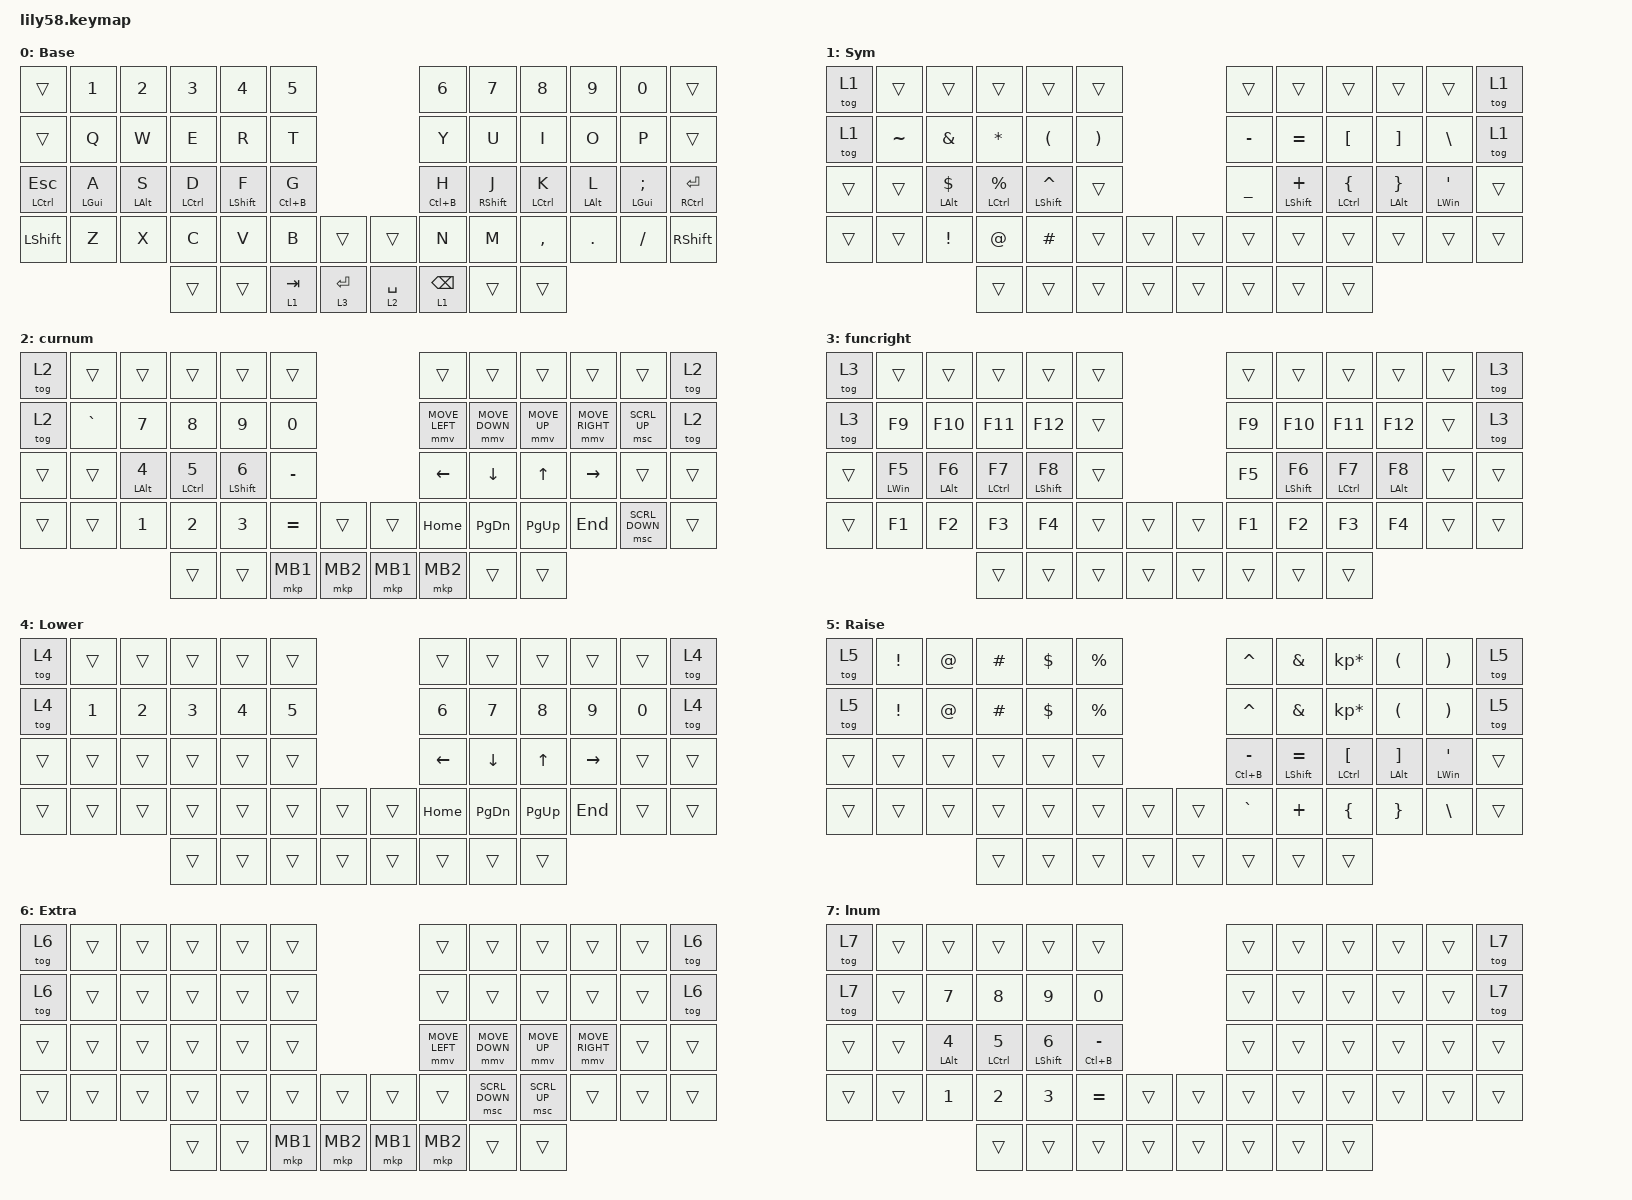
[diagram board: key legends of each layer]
/*
 * Copyright (c) 2020 The ZMK Contributors
 *
 * SPDX-License-Identifier: MIT
 *
 * Layout mirrors the corne keymap (corne-wireless-view) onto the lily58:
 *
 *   corne row 1 -> lily row 2    corne row 2 -> lily row 3    corne row 3 -> lily row 4
 *   lily top row (pos 0-11): numbers on Base, shifted symbols on Raise,
 *   &tog <layer> at both ends on the other layers (locks the current layer)
 *   lily row-4 thumb keys (pos 42/43) are &trans on every layer
 *
 *   corne left  thumbs (outer->inner)  -> lily 51 52 53
 *   corne right thumbs (inner->outer)  -> lily 54 55 56
 *   lily 50 / 57 stay &trans
 */

#include <behaviors.dtsi>
#include <dt-bindings/zmk/bt.h>
#include <dt-bindings/zmk/keys.h>
#include <dt-bindings/zmk/outputs.h>
#include <dt-bindings/zmk/pointing.h>

&lt {
    require-prior-idle-ms = <150>;
    tapping-term-ms = <280>;
    quick-tap-ms = <250>;
    flavor = "balanced";
};

&mt {
    require-prior-idle-ms = <150>;
    tapping-term-ms = <280>;
    quick-tap-ms = <250>;
    flavor = "balanced";
};

// Mouse move: faster ramp (150ms), less aggressive acceleration

&mmv {
    time-to-max-speed-ms = <250>;
    acceleration-exponent = <2>;
};

// Mouse scroll: faster ramp, linear

&msc {
    time-to-max-speed-ms = <250>;
    acceleration-exponent = <2>;
};

/ {
    behaviors {
        graveesc: graveesc {
            compatible = "zmk,behavior-mod-morph";
            #binding-cells = <0>;
            bindings = <&kp ESC>, <&kp GRAVE>;

            mods = <(MOD_LSFT|MOD_RSFT|MOD_LCTL|MOD_RCTL)>;
            keep-mods = <(MOD_LSFT|MOD_RSFT)>;
        };

        bspdel: bspace_del {
            compatible = "zmk,behavior-mod-morph";
            #binding-cells = <0>;
            bindings = <&kp BSPC>, <&kp DEL>;

            mods = <(MOD_LSFT|MOD_RSFT|MOD_LCTL|MOD_RCTL)>;
        };

        // Custom behavior (see src/behavior_esc_to_base.c): sends ESC and
        // forces the default layer, cancelling any layer locked via the
        // stick keys.

        esc_to_base: esc_to_base {
            compatible = "zmk,behavior-esc-to-base";
            #binding-cells = <0>;
        };

        lt_bspdel: layer_tap_bspc_del {
            compatible = "zmk,behavior-hold-tap";
            label = "LAYER_TAP_BACKSPACE_DELETE";
            #binding-cells = <2>;
            bindings = <&mo>, <&bspdel>;

            tapping-term-ms = <280>;
            quick-tap-ms = <250>;
        };

        td_lctrl_quote: td_lctrl_quote {
            compatible = "zmk,behavior-tap-dance";
            label = "DT_GUI_ENTER";
            #binding-cells = <0>;
            bindings = <&mt LCTRL SQT>, <&kp DQT>;
        };

        td_alt_brckt_bslsh: td_alt_brckt_bslsh {
            compatible = "zmk,behavior-tap-dance";
            label = "TD_ALT_BRCKT_BSLSH";
            #binding-cells = <0>;
            bindings = <&mt LALT LBKT>, <&kp RBKT>, <&kp BSLH>;
        };

        td_alt_minus_grave_esc: td_alt_minus_grave_esc {
            compatible = "zmk,behavior-tap-dance";
            label = "TD_ALT_MINUS_GRAVE_ESC";
            #binding-cells = <0>;
            bindings = <&mt LALT MINUS>, <&kp GRAVE>, <&kp ESC>;
        };

        lhmini: lhmini {
            compatible = "zmk,behavior-hold-tap";
            #binding-cells = <2>;
            flavor = "balanced";
            tapping-term-ms = <200>;
            quick-tap-ms = <250>;
            require-prior-idle-ms = <150>;
            bindings = <&kp>, <&kp>;

            hold-trigger-key-positions = <30 18 6 7 19 31 45 44 46 47 48 49 35 23 11 10 22 34 33 21 9 8 20 32 0 1 2 3 4 5 12 36 50 51 52 53 54 55 56 57 42 43 39 40 13 14 15 16 17 24 38 41 37>;
            label = "LHMINI";
            hold-trigger-on-release;
        };

        rhmini: rhmini {
            compatible = "zmk,behavior-hold-tap";
            #binding-cells = <2>;
            flavor = "balanced";
            tapping-term-ms = <200>;
            quick-tap-ms = <250>;
            require-prior-idle-ms = <150>;
            bindings = <&kp>, <&kp>;

            hold-trigger-key-positions = <41 29 5 17 4 3 2 1 0 12 14 16 40 28 39 38 37 36 24 25 13 26 27 15 50 51 52 53 42 6 7 8 9 10 11 23 49 55 56 57 54 43 46 45 18 19 20 21 22 35 47 48 34 44>;
            label = "RHMINI";
            hold-trigger-on-release;
        };
    };
};

/ {
    combos {
        compatible = "zmk,combos";

        // R E B T

        reboot {
            bindings = <&bootloader>;
            key-positions = <16 15 41 17>;
        };

        // RET SPACE (both inner thumbs): ESC and force default layer.

        thumbesc {
            bindings = <&esc_to_base>;
            key-positions = <53 54>;
            timeout-ms = <150>;
        };

        // F J

        capsword {
            bindings = <&caps_word>;
            key-positions = <28 31>;
        };

        // D F J K

        caps {
            bindings = <&kp CAPS>;
            key-positions = <27 28 31 32>;
        };

        // B T C

        btclear {
            bindings = <&bt BT_CLR>;
            key-positions = <17 41 39>;
        };

        // B T Q

        bt1 {
            bindings = <&bt BT_SEL 0>;
            key-positions = <17 41 13>;
        };

        // B T W

        bt2 {
            bindings = <&bt BT_SEL 1>;
            key-positions = <17 41 14>;
        };

        // B T E

        bt3 {
            bindings = <&bt BT_SEL 2>;
            key-positions = <17 41 15>;
        };

        // B T R

        bt4 {
            bindings = <&bt BT_SEL 3>;
            key-positions = <17 41 16>;
        };

        bt1_ {
            bindings = <&bt BT_SEL 0>;
            key-positions = <17 41 1>;
        };

        bt2_ {
            bindings = <&bt BT_SEL 1>;
            key-positions = <17 41 2>;
        };

        bt3_ {
            bindings = <&bt BT_SEL 2>;
            key-positions = <17 41 3>;
        };

        bt4_ {
            bindings = <&bt BT_SEL 3>;
            key-positions = <17 41 4>;
        };

        // B T O: toggle output between USB (dongle) and BLE (active profile's host)

        btout {
            bindings = <&out OUT_TOG>;
            key-positions = <17 41 21>;
        };

        // B T Z: same as B T O, one-handed (left) variant

        btz {
            bindings = <&out OUT_TOG>;
            key-positions = <17 41 37>;
        };
    };

    keymap {
        compatible = "zmk,keymap";

        // Key position order per row:
        //   row1: 0-11            (Base: numbers, Raise: shifted symbols, other layers: &tog <layer> at both ends)
        //   row2: 12-17 | 18-23
        //   row3: 24-29 | 30-35
        //   row4: 36-41 | 42 | 43 | 44-49   (42/43 are &trans on every layer)
        //   row5: 50-53 | 54-57

        default_layer {
            // ------------------------------------------------------------------------------------------------------------
            // |  -   |  1   |  2   |  3   |  4   |  5   |                   |  6   |  7   |  8   |  9   |  0   |  -   |
            // |  -   |  Q   |  W   |  E   |  R   |  T   |                   |  Y   |  U   |  I   |  O   |  P   |  -   |
            // |  -   |  A   |  S   |  D   |  F   |  G   |                   |  H   |  J   |  K   |  L   |  ;   |  -   |
            // |  -   |  Z   |  X   |  C   |  V   |  B   |  -   |  -   |  N   |  M   |  ,   |  .   |  /   |  -   |
            //                      |  -   | LT5 | LT4 | LT2 | LT1 | LT3/BSPC |  -  |  -   |

            display-name = "Base";
            bindings = <
&trans            &kp N1          &kp N2          &kp N3           &kp N4            &kp N5                                     &kp N6             &kp N7            &kp N8           &kp N9          &kp N0                  &trans
&trans            &kp Q           &kp W           &kp E            &kp R             &kp T                                      &kp Y              &kp U             &kp I            &kp O           &kp P                   &trans
&mt LCTRL ESCAPE  &lhmini LGUI A  &lhmini LALT S  &lhmini LCTRL D  &lhmini LSHIFT F  &lhmini LC(B) G                            &rhmini LC(B) H    &rhmini RSHIFT J  &rhmini LCTRL K  &rhmini LALT L  &rhmini LGUI SEMICOLON  &mt RCTRL ENTER
&kp LSHFT         &kp Z           &kp X           &kp C            &kp V             &kp B            &trans       &trans       &kp N              &kp M             &kp COMMA        &kp DOT         &kp FSLH                &kp RSHFT
                                                  &trans           &trans            &lt 1 TAB        &lt 3 RET    &lt 2 SPACE  &lt_bspdel 1 BSPC  &trans            &trans
            >;
        };

        Sym {
            display-name = "Sym";
            bindings = <
&tog 1  &trans     &trans                   &trans                 &trans                &trans                                   &trans          &trans               &trans                           &trans                        &trans            &tog 1
&tog 1  &kp TILDE  &kp AMPERSAND            &kp ASTERISK           &kp LEFT_PARENTHESIS  &kp RIGHT_PARENTHESIS                    &kp MINUS       &kp EQUAL            &kp LEFT_BRACKET                 &kp RIGHT_BRACKET             &kp BACKSLASH     &tog 1
&trans  &trans     &lhmini LEFT_ALT DOLLAR  &lhmini LCTRL PERCENT  &lhmini LSHFT CARET   &trans                                   &kp UNDERSCORE  &rhmini LSHIFT PLUS  &rhmini LEFT_CONTROL LEFT_BRACE  &rhmini LEFT_ALT RIGHT_BRACE  &rhmini LWIN SQT  &trans
&trans  &trans     &kp EXCLAMATION          &kp AT_SIGN            &kp HASH              &trans                 &trans    &trans  &trans          &trans               &trans                           &trans                        &trans            &trans
                                            &trans                 &trans                &trans                 &trans    &trans  &trans          &trans               &trans
            >;
        };

        cursornum {
            display-name = "curnum";
            bindings = <
&tog 2  &trans     &trans                 &trans            &trans                  &trans                           &trans          &trans          &trans        &trans           &trans          &tog 2
&tog 2  &kp GRAVE  &kp N7                 &kp N8            &kp N9                  &kp N0                           &mmv MOVE_LEFT  &mmv MOVE_DOWN  &mmv MOVE_UP  &mmv MOVE_RIGHT  &msc SCRL_UP    &tog 2
&trans  &trans     &lhmini LALT NUMBER_4  &lhmini LCTRL N5  &lhmini LSHFT NUMBER_6  &kp MINUS                        &kp LEFT        &kp DOWN        &kp UP        &kp RIGHT        &trans          &trans
&trans  &trans     &kp NUMBER_1           &kp NUMBER_2      &kp NUMBER_3            &kp EQUAL  &trans      &trans    &kp HOME        &kp PG_DN       &kp PG_UP     &kp END          &msc SCRL_DOWN  &trans
                                          &trans            &trans                  &mkp MB1   &mkp MB2    &mkp MB1  &mkp MB2        &trans          &trans
            >;
        };

        funcr {
            // | TOG4 |  -   |  -   |  -   |  -   |  -   |                   |  -   |  -   |  -   |  -   |  -   | TOG4 |
            // | TOG4 |  -   |  -   |  -   |  -   |  -   |                   |  F9  |  F10  |  F11  |  F12  | SYSRQ | TOG4 |
            // |  -   |  -   |  -   |  -   |  -   |  -   |                   |  F5  |  F6   |  F7   |  F8   |  SLCK |  -   |
            // |  -   |  -   |  -   |  -   |  -   |  -   |  -   |  -   |   F1   |  F2   |  F3   |  F4   | PRSC  |  -   |
            //                      |  -   |  -   |  -   |  -   |  -   |  -  |  -   |  -   |

            display-name = "funcright";
            bindings = <
&tog 3  &trans               &trans           &trans            &trans             &trans                    &trans  &trans            &trans            &trans               &trans  &tog 3
&tog 3  &kp F9               &kp F10          &kp F11           &kp F12            &trans                    &kp F9  &kp F10           &kp F11           &kp F12              &trans  &tog 3
&trans  &lhmini LEFT_WIN F5  &lhmini LALT F6  &lhmini LCTRL F7  &lhmini LSHIFT F8  &trans                    &kp F5  &rhmini LSHFT F6  &rhmini LCTRL F7  &rhmini LEFT_ALT F8  &trans  &trans
&trans  &kp F1               &kp F2           &kp F3            &kp F4             &trans  &trans    &trans  &kp F1  &kp F2            &kp F3            &kp F4               &trans  &trans
                                              &trans            &trans             &trans  &trans    &trans  &trans  &trans            &trans
            >;
        };

        lower_layer {
            // | TOG1 |  -   |  -   |  -   |  -   |  -   |                   |  -   |  -   |  -   |  -   |  -   | TOG1 |
            // | TOG1 |  1   |  2   |  3   |  4   |  5   |                   |  6   |  7   |  8   |  9   |  0   | TOG1 |
            // |  -   |  -   |  -   |  -   |  -   |  -   |                   |  <-  |  v   |  ^   |  ->  |  -   |  -   |
            // |  -   |  -   |  -   |  -   |  -   |  -   |  -   |  -   | HOME | PGDN | PGUP | END |  -  |  -  |
            //                      |  -   |  -   |  -   |  -   |  -   |  -  |  -   |  -   |

            display-name = "Lower";
            bindings = <
&tog 4  &trans  &trans  &trans  &trans  &trans                    &trans    &trans     &trans     &trans     &trans  &tog 4
&tog 4  &kp N1  &kp N2  &kp N3  &kp N4  &kp N5                    &kp N6    &kp N7     &kp N8     &kp N9     &kp N0  &tog 4
&trans  &trans  &trans  &trans  &trans  &trans                    &kp LEFT  &kp DOWN   &kp UP     &kp RIGHT  &trans  &trans
&trans  &trans  &trans  &trans  &trans  &trans  &trans    &trans  &kp HOME  &kp PG_DN  &kp PG_UP  &kp END    &trans  &trans
                        &trans  &trans  &trans  &trans    &trans  &trans    &trans     &trans
            >;
        };

        raise_layer {
            // | TOG2 |  !   |  @   |  #   |  $   |  %   |                   |  ^   |  &   |  *   |  (   |  )   | TOG2 |
            // | TOG2 |  !   |  @   |  #   |  $   |  %   |                   |  ^   |  &   |  *   |  (   |  )   | TOG2 |
            // |  -   |  -   |  -   |  -   |  -   |  `   |  -   |  =   |  [   |  ]   |  \   |  -   |
            // |  -   |  -   |  -   |  -   |  -   |  ~   |  -   |  -   |  _   |  +   |  {   |  }   |  |   |  -   |
            //                      |  -   |  -   |  -   |  -   |  -   |  -  |  -   |  -   |

            display-name = "Raise";
            bindings = <
&tog 5  &kp EXCL  &kp AT  &kp HASH  &kp DLLR  &kp PRCNT                    &kp CARET            &kp AMPS                  &kp KP_MULTIPLY                    &kp LPAR                        &kp RPAR          &tog 5
&tog 5  &kp EXCL  &kp AT  &kp HASH  &kp DLLR  &kp PRCNT                    &kp CARET            &kp AMPS                  &kp KP_MULTIPLY                    &kp LPAR                        &kp RPAR          &tog 5
&trans  &trans    &trans  &trans    &trans    &trans                       &rhmini LC(B) MINUS  &rhmini LEFT_SHIFT EQUAL  &rhmini LEFT_CONTROL LEFT_BRACKET  &rhmini LEFT_ALT RIGHT_BRACKET  &rhmini LWIN SQT  &trans
&trans  &trans    &trans  &trans    &trans    &trans     &trans    &trans  &kp GRAVE            &kp PLUS                  &kp LBRC                           &kp RBRC                        &kp BACKSLASH     &trans
                          &trans    &trans    &trans     &trans    &trans  &trans               &trans                    &trans
            >;
        };

        extra {
            // | TOG3 |  -   |  -   |  -   |  -   |  -   |                   |  -   |  -   |  -   |  -   |  -   | TOG3 |
            // | TOG3 | VOL- | BRI- |  -   |  -   |  -   |                   |  -   |  -   |  -   |  -   |  -   | TOG3 |
            // |  -   | VOL+ | BRI+ |  -   |  -   |  -   |                   |  <-  |  v   |  ^   |  ->  |  -   |  -   |
            // |  -   | MUTE |  -   |  -   |  -   |  -   |  -   |  -   |  -   |  v   |  ^   |  -   |  -   |  -   |
            //                      |  -   |  -   | MB1 | MB2 | MB1 | MB2   |  -  |  -   |

            display-name = "Extra";
            bindings = <
&tog 6  &trans  &trans  &trans  &trans  &trans                          &trans          &trans          &trans        &trans           &trans  &tog 6
&tog 6  &trans  &trans  &trans  &trans  &trans                          &trans          &trans          &trans        &trans           &trans  &tog 6
&trans  &trans  &trans  &trans  &trans  &trans                          &mmv MOVE_LEFT  &mmv MOVE_DOWN  &mmv MOVE_UP  &mmv MOVE_RIGHT  &trans  &trans
&trans  &trans  &trans  &trans  &trans  &trans    &trans      &trans    &trans          &msc SCRL_DOWN  &msc SCRL_UP  &trans           &trans  &trans
                        &trans  &trans  &mkp MB1  &mkp MB2    &mkp MB1  &mkp MB2        &trans          &trans
            >;
        };

        lnum {
            // TOG5 at both ends of rows 0-1, rest &trans (also reachable as LT5 via the left thumb).

            display-name = "lnum";
            bindings = <
&tog 7  &trans  &trans                     &trans                  &trans                  &trans                                 &trans  &trans  &trans  &trans  &trans  &tog 7
&tog 7  &trans  &kp N7                     &kp N8                  &kp N9                  &kp N0                                 &trans  &trans  &trans  &trans  &trans  &tog 7
&trans  &trans  &lhmini LEFT_ALT NUMBER_4  &lhmini LCTRL NUMBER_5  &lhmini LSHFT NUMBER_6  &lhmini LC(B) MINUS                    &trans  &trans  &trans  &trans  &trans  &trans
&trans  &trans  &kp N1                     &kp N2                  &kp N3                  &kp EQUAL            &trans    &trans  &trans  &trans  &trans  &trans  &trans  &trans
                                           &trans                  &trans                  &trans               &trans    &trans  &trans  &trans  &trans
            >;
        };
    };

    conditional_layers { compatible = "zmk,conditional-layers"; };
};
